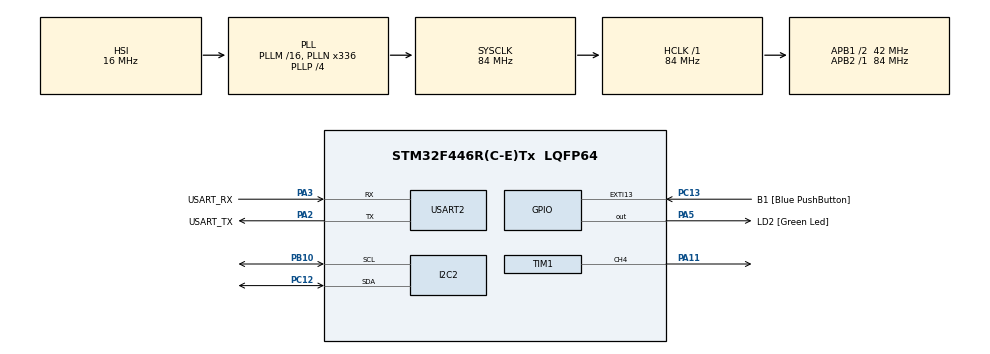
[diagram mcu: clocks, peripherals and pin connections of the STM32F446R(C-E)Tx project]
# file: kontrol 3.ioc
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Mcu.Family=STM32F4
Mcu.Name=STM32F446R(C-E)Tx
Mcu.Package=LQFP64
NVIC.PriorityGroup=NVIC_PRIORITYGROUP_4
PA11.Signal=S_TIM1_CH4
PA13.GPIO_Label=TMS
PA13.Mode=Serial_Wire
PA13.Signal=SYS_JTMS-SWDIO
PA14.GPIO_Label=TCK
PA14.Mode=Serial_Wire
PA14.Signal=SYS_JTCK-SWCLK
PA2.GPIO_Label=USART_TX
PA2.Mode=Asynchronous
PA2.Signal=USART2_TX
PA3.GPIO_Label=USART_RX
PA3.Mode=Asynchronous
PA3.Signal=USART2_RX
PA5.GPIO_Label=LD2 [Green Led]
PA5.Signal=GPIO_Output
PB10.Mode=I2C
PB10.Signal=I2C2_SCL
PB3.GPIO_Label=SWO
PB3.Signal=SYS_JTDO-SWO
PC12.Mode=I2C
PC12.Signal=I2C2_SDA
PC13.GPIO_Label=B1 [Blue PushButton]
PC13.GPIO_ModeDefaultEXTI=GPIO_MODE_IT_FALLING
PC13.Signal=GPXTI13
PC14-OSC32_IN.Mode=LSE-External-Oscillator
PC14-OSC32_IN.Signal=RCC_OSC32_IN
PC15-OSC32_OUT.Mode=LSE-External-Oscillator
PC15-OSC32_OUT.Signal=RCC_OSC32_OUT
PH0-OSC_IN.Mode=HSE-External-Oscillator
PH0-OSC_IN.Signal=RCC_OSC_IN
PH1-OSC_OUT.Mode=HSE-External-Oscillator
PH1-OSC_OUT.Signal=RCC_OSC_OUT
ProjectManager.HeapSize=0x200
ProjectManager.StackSize=0x400
ProjectManager.TargetToolchain=STM32CubeIDE
RCC.48MHZClocksFreq_Value=84000000
RCC.AHBFreq_Value=84000000
RCC.APB1CLKDivider=RCC_HCLK_DIV2
RCC.APB1Freq_Value=42000000
RCC.APB1TimFreq_Value=84000000
RCC.APB2Freq_Value=84000000
RCC.APB2TimFreq_Value=84000000
RCC.CortexFreq_Value=84000000
RCC.FLatency-AdvancedSettings=FLASH_LATENCY_2
RCC.HCLKFreq_Value=84000000
RCC.HSE_VALUE=8000000
RCC.HSI_VALUE=16000000
RCC.PLLN=336
RCC.PLLP=RCC_PLLP_DIV4
RCC.SYSCLKFreq_VALUE=84000000
RCC.SYSCLKSource=RCC_SYSCLKSOURCE_PLLCLK
RCC.USBFreq_Value=168000000
RCC.VCOOutputFreq_Value=336000000
SH.S_TIM1_CH4.0=TIM1_CH4,PWM Generation4 CH4
TIM1.Channel-PWM\ Generation4\ CH4=TIM_CHANNEL_4
USART2.VirtualMode=VM_ASYNC
VP_TIM1_VS_ClockSourceINT.Mode=Internal
board=NUCLEO-F446RE

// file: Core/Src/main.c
/* USER CODE BEGIN Header */
/**
  ******************************************************************************
  * @file           : main.c
  * @brief          : Main program body
  ******************************************************************************
  * @attention
  *
  * Copyright (c) 2025 STMicroelectronics.
  * All rights reserved.
  *
  * This software is licensed under terms that can be found in the LICENSE file
  * in the root directory of this software component.
  * If no LICENSE file comes with this software, it is provided AS-IS.
  *
  ******************************************************************************
  */
/* USER CODE END Header */
#include "main.h"

/* USER CODE BEGIN Includes */

#include "driver_as5600.h"

/* USER CODE END Includes */

/* USER CODE BEGIN PD */

#define AS5600_DEVICE_ADDRESS   0x36
#define AS5600_I2C_ADDR         (AS5600_DEVICE_ADDRESS << 1) // Yazma/Okuma için adresi sola kaydır
#define AS5600_REG_RAW_ANGLE    0x0C // Ham açı verisinin başlangıç register'ı

/* USER CODE END PD */

I2C_HandleTypeDef hi2c2;

TIM_HandleTypeDef htim1;

UART_HandleTypeDef huart2;

/* USER CODE BEGIN PV */
//uint8_t RA_Buffer ;
//uint16_t ang = 0;
//as5600_handle_t sensor_handle;
//
//
//#define AS5600_I2C_ADDR       (0x36 << 1)   // I2C adresi 7-bit + 1-bit R/W
//#define AS5600_REG_ANGLE_H    0x0E
//#define AS5600_REG_ANGLE_L    0x0F
//
//uint32_t tick1;
//uint32_t tick2;
//uint32_t tickresult;
//
//float derece;

//*********************************
uint8_t reg_addr = AS5600_REG_RAW_ANGLE;
uint8_t i2c_rx_buffer[2];
uint16_t raw_angle;
float angle_in_degrees;
HAL_StatusTypeDef i2c_status;
float delta;
float acisal;
float ilk = 0;
float motorGuc;
/* USER CODE END PV */

void SystemClock_Config(void);
static void MX_GPIO_Init(void);
static void MX_USART2_UART_Init(void);
static void MX_I2C2_Init(void);
static void MX_TIM1_Init(void);

int main(void)
{

  /* MCU Configuration--------------------------------------------------------*/

  /* Reset of all peripherals, Initializes the Flash interface and the Systick. */
  HAL_Init();

  /* Configure the system clock */
  SystemClock_Config();

  /* Initialize all configured peripherals */
  MX_GPIO_Init();
  MX_USART2_UART_Init();
  MX_I2C2_Init();
  MX_TIM1_Init();
  /* USER CODE BEGIN 2 */
  uint8_t motorKontrol (float acisalhiz,float derece);

//  as5600_init(&sensor_handle);

  /* USER CODE END 2 */

  /* Infinite loop */
  while (1)
  {

    /* USER CODE BEGIN 3 */

	  i2c_status = HAL_I2C_Master_Transmit(&hi2c2, AS5600_I2C_ADDR, &reg_addr, 1, HAL_MAX_DELAY);
	  if (i2c_status != HAL_OK)
	  {
      return 0; // led yak

	  }
	  i2c_status = HAL_I2C_Master_Receive(&hi2c2, AS5600_I2C_ADDR, i2c_rx_buffer, 2, HAL_MAX_DELAY);

	  if (i2c_status == HAL_OK)
	  {

	      raw_angle = (uint16_t)(i2c_rx_buffer[0] << 8) | i2c_rx_buffer[1];
	      angle_in_degrees = (float)raw_angle * 360.0f / 4096.0f;
	      float son = angle_in_degrees;
	      HAL_Delay(200);
	      delta = son - ilk;
	      if (delta > 180.0f) {
	          delta -= 360.0f;
	      } else if (delta < -180.0f) {
	          delta += 360.0f;
	      }
	      acisal = delta / 200.0f;
	  }
	  ilk = angle_in_degrees;
	  // HAL_Delay(100);

      char buffer[100];
      sprintf(buffer, "Son Aci: %.2f, Acisal Hiz: %.2f\r\n",ilk,acisal);

	  HAL_UART_Transmit(&huart2,(uint8_t*)buffer, strlen(buffer), 100);

HAL_TIM
	}

  /* USER CODE END 3 */
}

void SystemClock_Config(void)
{
  RCC_OscInitTypeDef RCC_OscInitStruct = {0};
  RCC_ClkInitTypeDef RCC_ClkInitStruct = {0};

  /** Configure the main internal regulator output voltage
  */
  __HAL_RCC_PWR_CLK_ENABLE();
  __HAL_PWR_VOLTAGESCALING_CONFIG(PWR_REGULATOR_VOLTAGE_SCALE3);

  /** Initializes the RCC Oscillators according to the specified parameters
  * in the RCC_OscInitTypeDef structure.
  */
  RCC_OscInitStruct.OscillatorType = RCC_OSCILLATORTYPE_HSI;
  RCC_OscInitStruct.HSIState = RCC_HSI_ON;
  RCC_OscInitStruct.HSICalibrationValue = RCC_HSICALIBRATION_DEFAULT;
  RCC_OscInitStruct.PLL.PLLState = RCC_PLL_ON;
  RCC_OscInitStruct.PLL.PLLSource = RCC_PLLSOURCE_HSI;
  RCC_OscInitStruct.PLL.PLLM = 16;
  RCC_OscInitStruct.PLL.PLLN = 336;
  RCC_OscInitStruct.PLL.PLLP = RCC_PLLP_DIV4;
  RCC_OscInitStruct.PLL.PLLQ = 2;
  RCC_OscInitStruct.PLL.PLLR = 2;
  if (HAL_RCC_OscConfig(&RCC_OscInitStruct) != HAL_OK)
  {
    Error_Handler();
  }

  /** Initializes the CPU, AHB and APB buses clocks
  */
  RCC_ClkInitStruct.ClockType = RCC_CLOCKTYPE_HCLK|RCC_CLOCKTYPE_SYSCLK
                              |RCC_CLOCKTYPE_PCLK1|RCC_CLOCKTYPE_PCLK2;
  RCC_ClkInitStruct.SYSCLKSource = RCC_SYSCLKSOURCE_PLLCLK;
  RCC_ClkInitStruct.AHBCLKDivider = RCC_SYSCLK_DIV1;
  RCC_ClkInitStruct.APB1CLKDivider = RCC_HCLK_DIV2;
  RCC_ClkInitStruct.APB2CLKDivider = RCC_HCLK_DIV1;

  if (HAL_RCC_ClockConfig(&RCC_ClkInitStruct, FLASH_LATENCY_2) != HAL_OK)
  {
    Error_Handler();
  }
}

static void MX_I2C2_Init(void)
{

  hi2c2.Instance = I2C2;
  hi2c2.Init.ClockSpeed = 100000;
  hi2c2.Init.DutyCycle = I2C_DUTYCYCLE_2;
  hi2c2.Init.OwnAddress1 = 0;
  hi2c2.Init.AddressingMode = I2C_ADDRESSINGMODE_7BIT;
  hi2c2.Init.DualAddressMode = I2C_DUALADDRESS_DISABLE;
  hi2c2.Init.OwnAddress2 = 0;
  hi2c2.Init.GeneralCallMode = I2C_GENERALCALL_DISABLE;
  hi2c2.Init.NoStretchMode = I2C_NOSTRETCH_DISABLE;
  if (HAL_I2C_Init(&hi2c2) != HAL_OK)
  {
    Error_Handler();
  }

}

static void MX_TIM1_Init(void)
{

  TIM_ClockConfigTypeDef sClockSourceConfig = {0};
  TIM_MasterConfigTypeDef sMasterConfig = {0};
  TIM_OC_InitTypeDef sConfigOC = {0};
  TIM_BreakDeadTimeConfigTypeDef sBreakDeadTimeConfig = {0};

  htim1.Instance = TIM1;
  htim1.Init.Prescaler = 0;
  htim1.Init.CounterMode = TIM_COUNTERMODE_UP;
  htim1.Init.Period = 65535;
  htim1.Init.ClockDivision = TIM_CLOCKDIVISION_DIV1;
  htim1.Init.RepetitionCounter = 0;
  htim1.Init.AutoReloadPreload = TIM_AUTORELOAD_PRELOAD_DISABLE;
  if (HAL_TIM_Base_Init(&htim1) != HAL_OK)
  {
    Error_Handler();
  }
  sClockSourceConfig.ClockSource = TIM_CLOCKSOURCE_INTERNAL;
  if (HAL_TIM_ConfigClockSource(&htim1, &sClockSourceConfig) != HAL_OK)
  {
    Error_Handler();
  }
  if (HAL_TIM_PWM_Init(&htim1) != HAL_OK)
  {
    Error_Handler();
  }
  sMasterConfig.MasterOutputTrigger = TIM_TRGO_RESET;
  sMasterConfig.MasterSlaveMode = TIM_MASTERSLAVEMODE_DISABLE;
  if (HAL_TIMEx_MasterConfigSynchronization(&htim1, &sMasterConfig) != HAL_OK)
  {
    Error_Handler();
  }
  sConfigOC.OCMode = TIM_OCMODE_PWM1;
  sConfigOC.Pulse = 0;
  sConfigOC.OCPolarity = TIM_OCPOLARITY_HIGH;
  sConfigOC.OCFastMode = TIM_OCFAST_DISABLE;
  sConfigOC.OCIdleState = TIM_OCIDLESTATE_RESET;
  sConfigOC.OCNIdleState = TIM_OCNIDLESTATE_RESET;
  if (HAL_TIM_PWM_ConfigChannel(&htim1, &sConfigOC, TIM_CHANNEL_4) != HAL_OK)
  {
    Error_Handler();
  }
  sBreakDeadTimeConfig.OffStateRunMode = TIM_OSSR_DISABLE;
  sBreakDeadTimeConfig.OffStateIDLEMode = TIM_OSSI_DISABLE;
  sBreakDeadTimeConfig.LockLevel = TIM_LOCKLEVEL_OFF;
  sBreakDeadTimeConfig.DeadTime = 0;
  sBreakDeadTimeConfig.BreakState = TIM_BREAK_DISABLE;
  sBreakDeadTimeConfig.BreakPolarity = TIM_BREAKPOLARITY_HIGH;
  sBreakDeadTimeConfig.AutomaticOutput = TIM_AUTOMATICOUTPUT_DISABLE;
  if (HAL_TIMEx_ConfigBreakDeadTime(&htim1, &sBreakDeadTimeConfig) != HAL_OK)
  {
    Error_Handler();
  }
  HAL_TIM_MspPostInit(&htim1);

}

static void MX_USART2_UART_Init(void)
{

  huart2.Instance = USART2;
  huart2.Init.BaudRate = 115200;
  huart2.Init.WordLength = UART_WORDLENGTH_8B;
  huart2.Init.StopBits = UART_STOPBITS_1;
  huart2.Init.Parity = UART_PARITY_NONE;
  huart2.Init.Mode = UART_MODE_TX_RX;
  huart2.Init.HwFlowCtl = UART_HWCONTROL_NONE;
  huart2.Init.OverSampling = UART_OVERSAMPLING_16;
  if (HAL_UART_Init(&huart2) != HAL_OK)
  {
    Error_Handler();
  }

}

static void MX_GPIO_Init(void)
{
  GPIO_InitTypeDef GPIO_InitStruct = {0};

  /* GPIO Ports Clock Enable */
  __HAL_RCC_GPIOC_CLK_ENABLE();
  __HAL_RCC_GPIOH_CLK_ENABLE();
  __HAL_RCC_GPIOA_CLK_ENABLE();
  __HAL_RCC_GPIOB_CLK_ENABLE();

  /*Configure GPIO pin Output Level */
  HAL_GPIO_WritePin(LD2_GPIO_Port, LD2_Pin, GPIO_PIN_RESET);

  /*Configure GPIO pin : B1_Pin */
  GPIO_InitStruct.Pin = B1_Pin;
  GPIO_InitStruct.Mode = GPIO_MODE_IT_FALLING;
  GPIO_InitStruct.Pull = GPIO_NOPULL;
  HAL_GPIO_Init(B1_GPIO_Port, &GPIO_InitStruct);

  /*Configure GPIO pin : LD2_Pin */
  GPIO_InitStruct.Pin = LD2_Pin;
  GPIO_InitStruct.Mode = GPIO_MODE_OUTPUT_PP;
  GPIO_InitStruct.Pull = GPIO_NOPULL;
  GPIO_InitStruct.Speed = GPIO_SPEED_FREQ_LOW;
  HAL_GPIO_Init(LD2_GPIO_Port, &GPIO_InitStruct);

}

/* USER CODE BEGIN 4 */

uint8_t motorKontrol (float acisalhiz, float derece){
		int guc = 0;
		int sapma;

		__HAL_TIM_SET_COMPARE(&htim1,TIM_CHANNEL_4,5);

	}

/* USER CODE END 4 */

void Error_Handler(void)
{
  __disable_irq();
  while (1)
  {
  }
}
